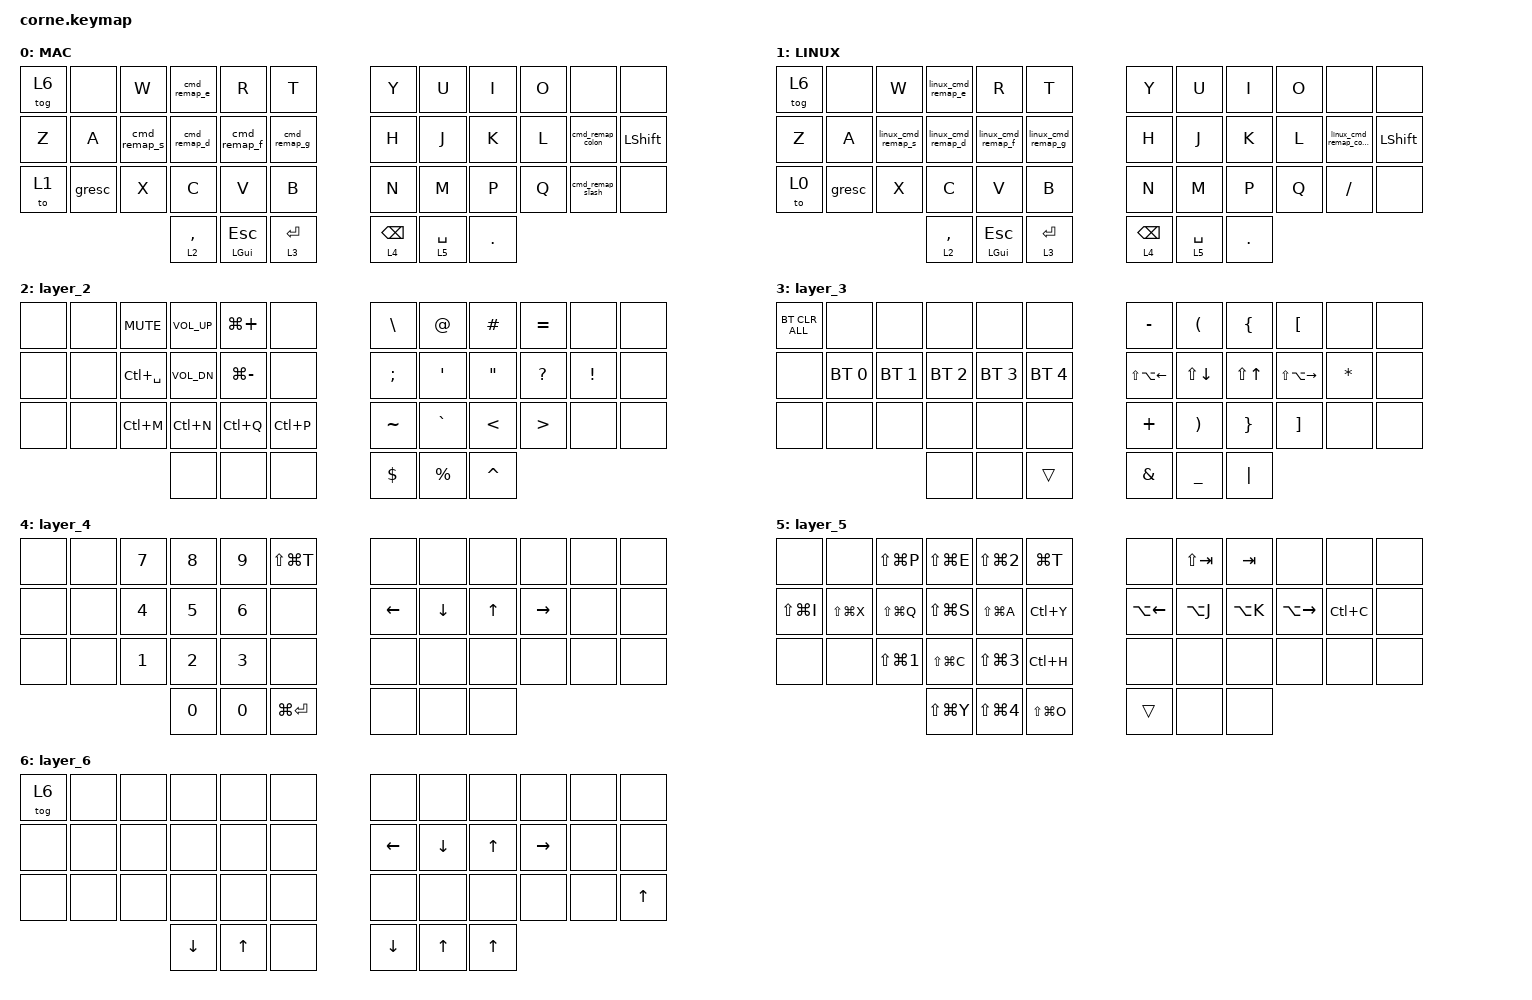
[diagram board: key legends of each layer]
// config/corne.keymap

#include <behaviors.dtsi>
#include <dt-bindings/zmk/bt.h>
#include <dt-bindings/zmk/keys.h>

/ {
    behaviors {
        lt_repeat: layer_tap_repeat {
            compatible = "zmk,behavior-hold-tap";
            #binding-cells = <2>;
            flavor = "balanced";
            tapping-term-ms = <120>;
            quick-tap-ms = <175>;
            require-prior-idle-ms = <150>;
            bindings = <&mo>, <&kp>;

            hold-trigger-on-release;
        };

        cmd_remap_e: cmd_remap_e {
            compatible = "zmk,behavior-mod-morph";
            #binding-cells = <0>;
            bindings = <&kp E>, <&kp LG(W)>;

            mods = <(MOD_LGUI)>;
        };

        cmd_remap_d: cmd_remap_d {
            compatible = "zmk,behavior-mod-morph";
            #binding-cells = <0>;
            bindings = <&kp D>, <&kp LG(C)>;

            mods = <(MOD_LGUI)>;
        };

        cmd_remap_f: cmd_remap_f {
            compatible = "zmk,behavior-mod-morph";
            #binding-cells = <0>;
            bindings = <&kp F>, <&kp LG(V)>;

            mods = <(MOD_LGUI)>;
        };

        cmd_remap_s: cmd_remap_s {
            compatible = "zmk,behavior-mod-morph";
            #binding-cells = <0>;
            bindings = <&kp S>, <&kp LG(X)>;

            mods = <(MOD_LGUI)>;
        };

        cmd_remap_g: cmd_remap_g {
            compatible = "zmk,behavior-mod-morph";
            #binding-cells = <0>;
            bindings = <&kp G>, <&kp LG(F)>;

            mods = <(MOD_LGUI)>;
        };

        cmd_remap_colon: cmd_remap_colon {
            compatible = "zmk,behavior-mod-morph";
            #binding-cells = <0>;
            bindings = <&kp COLON>, <&kp LC(C)>;

            mods = <(MOD_LGUI)>;
        };

        cmd_remap_slash: cmd_remap_slash {
            compatible = "zmk,behavior-mod-morph";
            #binding-cells = <0>;
            bindings = <&kp SLASH>, <&kp LC(SPACE)>;

            mods = <(MOD_LGUI)>;
        };

        linux_cmd_remap_e: linux_cmd_remap_e {
            compatible = "zmk,behavior-mod-morph";
            #binding-cells = <0>;
            bindings = <&kp E>, <&kp LC(W)>;

            mods = <(MOD_LGUI)>;
        };

        linux_cmd_remap_d: linux_cmd_remap_d {
            compatible = "zmk,behavior-mod-morph";
            #binding-cells = <0>;
            bindings = <&kp D>, <&kp LC(C)>;

            mods = <(MOD_LGUI)>;
        };

        linux_cmd_remap_f: linux_cmd_remap_f {
            compatible = "zmk,behavior-mod-morph";
            #binding-cells = <0>;
            bindings = <&kp F>, <&kp LC(V)>;

            mods = <(MOD_LGUI)>;
        };

        linux_cmd_remap_s: linux_cmd_remap_s {
            compatible = "zmk,behavior-mod-morph";
            #binding-cells = <0>;
            bindings = <&kp S>, <&kp LC(X)>;

            mods = <(MOD_LGUI)>;
        };

        linux_cmd_remap_g: linux_cmd_remap_g {
            compatible = "zmk,behavior-mod-morph";
            #binding-cells = <0>;
            bindings = <&kp G>, <&kp LC(F)>;

            mods = <(MOD_LGUI)>;
        };

        linux_cmd_remap_colon: linux_cmd_remap_colon {
            compatible = "zmk,behavior-mod-morph";
            #binding-cells = <0>;
            bindings = <&kp COLON>, <&kp LC(G)>;

            mods = <(MOD_LGUI)>;
        };
    };

    keymap {
        compatible = "zmk,keymap";

        MAC {
            bindings = <
&tog 6  &none   &kp W         &cmd_remap_e  &kp R         &kp T           &kp Y                   &kp U               &kp I    &kp O  &none             &none
&kp Z   &kp A   &cmd_remap_s  &cmd_remap_d  &cmd_remap_f  &cmd_remap_g    &kp H                   &kp J               &kp K    &kp L  &cmd_remap_colon  &kp LSHFT
&to 1   &gresc  &kp X         &kp C         &kp V         &kp B           &kp N                   &kp M               &kp P    &kp Q  &cmd_remap_slash  &none
                              &lt 2 COMMA   &mt LGUI ESC  &lt 3 RET       &lt_repeat 4 BACKSPACE  &lt_repeat 5 SPACE  &kp DOT
            >;
        };

        LINUX {
            bindings = <
&tog 6  &none   &kp W               &linux_cmd_remap_e  &kp R               &kp T                 &kp Y                   &kp U               &kp I    &kp O  &none                   &none
&kp Z   &kp A   &linux_cmd_remap_s  &linux_cmd_remap_d  &linux_cmd_remap_f  &linux_cmd_remap_g    &kp H                   &kp J               &kp K    &kp L  &linux_cmd_remap_colon  &kp LSHFT
&to 0   &gresc  &kp X               &kp C               &kp V               &kp B                 &kp N                   &kp M               &kp P    &kp Q  &kp SLASH               &none
                                    &lt 2 COMMA         &mt LGUI ESC        &lt 3 RET             &lt_repeat 4 BACKSPACE  &lt_repeat 5 SPACE  &kp DOT
            >;
        };

        layer_2 {
            bindings = <
&none  &none  &kp C_MUTE     &kp C_VOLUME_UP  &kp LG(PLUS)   &none        &kp BACKSLASH  &kp AT_SIGN       &kp HASH           &kp EQUAL         &none            &none
&none  &none  &kp LC(SPACE)  &kp C_VOL_DN     &kp LG(MINUS)  &none        &kp SEMI       &kp SINGLE_QUOTE  &kp DOUBLE_QUOTES  &kp QMARK         &kp EXCLAMATION  &none
&none  &none  &kp LC(M)      &kp LC(N)        &kp LC(Q)      &kp LC(P)    &kp TILDE      &kp GRAVE         &kp LESS_THAN      &kp GREATER_THAN  &none            &none
                             &none            &none          &none        &kp DOLLAR     &kp PERCENT       &kp CARET
            >;
        };

        layer_3 {
            bindings = <
&bt BT_CLR_ALL  &none         &none         &none         &none         &none           &kp MINUS         &kp LEFT_PARENTHESIS   &kp LEFT_BRACE    &kp LEFT_BRACKET   &none     &none
&none           &bt BT_SEL 0  &bt BT_SEL 1  &bt BT_SEL 2  &bt BT_SEL 3  &bt BT_SEL 4    &kp LS(LA(LEFT))  &kp LS(DOWN_ARROW)     &kp LS(UP_ARROW)  &kp LS(LA(RIGHT))  &kp STAR  &none
&none           &none         &none         &none         &none         &none           &kp PLUS          &kp RIGHT_PARENTHESIS  &kp RIGHT_BRACE   &kp RIGHT_BRACKET  &none     &none
                                            &none         &none         &trans          &kp AMPERSAND     &kp UNDERSCORE         &kp PIPE
            >;
        };

        layer_4 {
            bindings = <
&none  &none  &kp N7  &kp N8  &kp N9  &kp LS(LG(T))    &none     &none     &none   &none      &none  &none
&none  &none  &kp N4  &kp N5  &kp N6  &none            &kp LEFT  &kp DOWN  &kp UP  &kp RIGHT  &none  &none
&none  &none  &kp N1  &kp N2  &kp N3  &none            &none     &none     &none   &none      &none  &none
                      &kp N0  &kp N0  &kp LG(RET)      &none     &none     &none
            >;
        };

        layer_5 {
            bindings = <
&none          &none          &kp LS(LG(P))   &kp LS(LG(E))  &kp LS(LG(N2))  &kp LG(T)        &none         &kp LS(TAB)  &kp TAB    &none          &none      &none
&kp LS(LG(I))  &kp LS(LG(X))  &kp LS(LG(Q))   &kp LS(LG(S))  &kp LS(LG(A))   &kp LC(Y)        &kp LA(LEFT)  &kp LA(J)    &kp LA(K)  &kp LA(RIGHT)  &kp LC(C)  &none
&none          &none          &kp LS(LG(N1))  &kp LS(LG(C))  &kp LS(LG(N3))  &kp LC(H)        &none         &none        &none      &none          &none      &none
                                              &kp LS(LG(Y))  &kp LS(LG(N4))  &kp LS(LG(O))    &trans        &none        &none
            >;
        };

        layer_6 {
            bindings = <
&tog 6  &none  &none  &none     &none         &none    &none     &none         &none         &none      &none  &none
&none   &none  &none  &none     &none         &none    &kp LEFT  &kp DOWN      &kp UP_ARROW  &kp RIGHT  &none  &none
&none   &none  &none  &none     &none         &none    &none     &none         &none         &none      &none  &kp UP_ARROW
                      &kp DOWN  &kp UP_ARROW  &none    &kp DOWN  &kp UP_ARROW  &kp UP_ARROW
            >;
        };
    };
};
